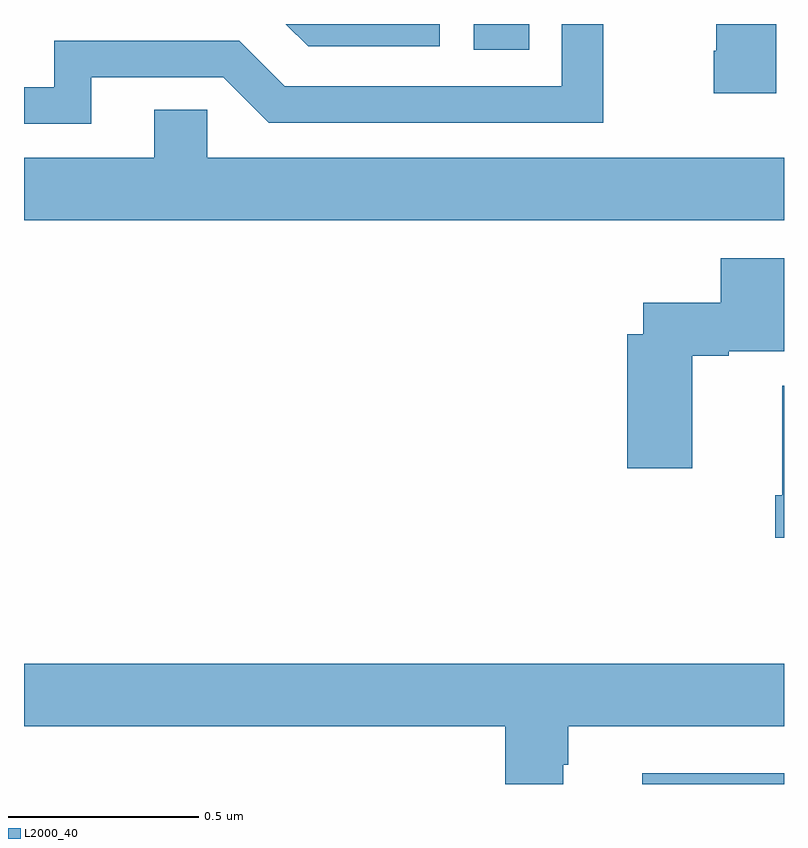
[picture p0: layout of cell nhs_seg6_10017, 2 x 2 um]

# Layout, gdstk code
import gdstk
lib = gdstk.Library(unit=1e-6, precision=1e-09)
def R(c, l, rs):  # rectangles x0, y0, x1, y1
    for r in rs: c.add(gdstk.rectangle(r[:2], r[2:], *l))
def P(c, l, *ps):  # polygons
    for p in ps: c.add(gdstk.Polygon(p, *l))
L2000_40 = (2000, 40)

nhs_seg6_10017 = lib.new_cell('nhs_seg6_10017')
R(nhs_seg6_10017, L2000_40, [(242.627,964.5,243,964.528), (242.184,966.432,242.33,966.5)])
P(nhs_seg6_10017, L2000_40, [(241.177,966.36),(241.524,966.36),(241.644,966.24),(242.524,966.24),(242.524,966.5),(242.415,966.5),(242.415,966.336),(241.686,966.336),(241.566,966.456),(241.08,966.456),(241.08,966.333),(241,966.333),(241,966.237),(241.177,966.237)],
  [(242.094,966.5),(241.689,966.5),(241.748,966.441),(242.094,966.441)],
  [(242.98,966.5),(242.822,966.5),(242.822,966.43),(242.815,966.43),(242.815,966.318),(242.98,966.318)],
  [(243,966.148),(241.482,966.148),(241.482,966.275),(241.343,966.275),(241.343,966.148),(241,966.148),(241,965.984),(243,965.984)],
  [(242.758,965.627),(242.854,965.627),(242.854,965.639),(243,965.639),(243,965.884),(242.834,965.884),(242.834,965.767),(242.63,965.767),(242.63,965.683),(242.588,965.683),(242.588,965.331),(242.758,965.331)],
  [(243,965.548),(242.995,965.548),(242.995,965.26),(242.977,965.26),(242.977,965.148),(243,965.148)],
  [(242.419,964.551),(242.432,964.551),(242.432,964.652),(243,964.652),(243,964.816),(241,964.816),(241,964.652),(242.267,964.652),(242.267,964.5),(242.419,964.5)])

lib.write_gds('nhs_seg6_10017.gds')
